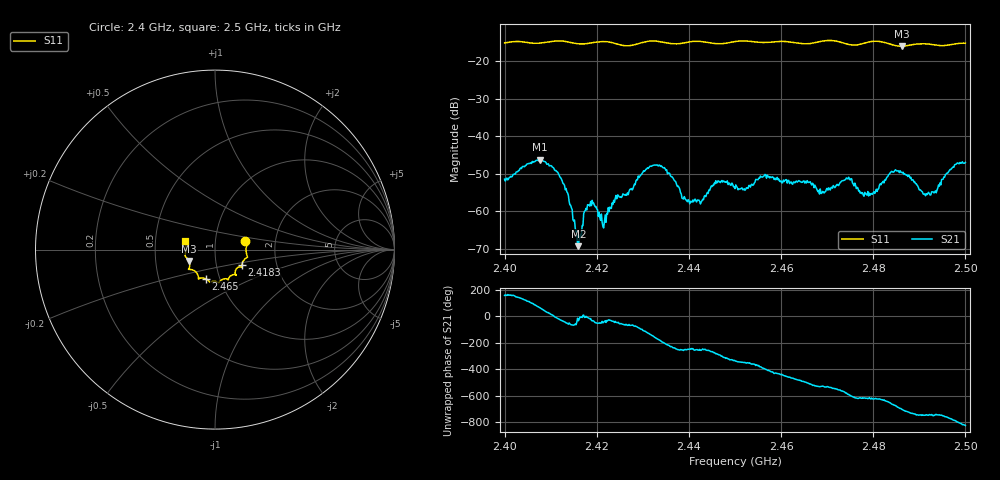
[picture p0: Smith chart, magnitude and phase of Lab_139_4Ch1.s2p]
# Hz S RI R 50
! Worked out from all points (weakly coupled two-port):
!   601 points, 2.4 GHz to 2.5 GHz, reference 50 ohm
!   highest |S21| = -46.31 dB at 2.4077 GHz (marker M1); lowest = -69.3 dB at 2.416 GHz (marker M2)
!   lowest |S11| = -16.0 dB at 2.4862 GHz (marker M3), VSWR 1.37, Z = 37.1 - j4.84 ohm
!   |S11| at or under -10 dB: start of sweep to end of sweep
!   S12 and S22 are empty: the file has one direction only
!   S11 on the Smith chart (normalised r, x): 2.4 GHz: 1.40, +0.13; 2.4183 GHz: 1.33, -0.24; 2.465 GHz: 0.86, -0.29; 2.5 GHz: 0.71, +0.07
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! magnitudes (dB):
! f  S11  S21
! 2.4 GHz  -15.1  -51.5
! 2.4077 GHz  -15.2  -46.3
! 2.4125 GHz  -14.6  -52.0
! 2.416 GHz  -15.4  -69.3
! 2.4167 GHz  -15.4  -66.8
! 2.4183 GHz  -15.2  -58.3
! 2.4217 GHz  -14.8  -62.6
! 2.4242 GHz  -15.4  -55.8
! 2.4333 GHz  -14.7  -48.0
! 2.4402 GHz  -14.9  -58.0
! 2.446 GHz  -15.3  -52.5
! 2.45 GHz  -14.8  -54.0
! 2.4562 GHz  -15.0  -50.7
! 2.465 GHz  -15.4  -52.0
! 2.4667 GHz  -15.2  -53.0
! 2.4692 GHz  -14.6  -54.8
! 2.4747 GHz  -15.6  -51.0
! 2.4795 GHz  -14.8  -55.4
! 2.4833 GHz  -15.3  -50.2
! 2.4862 GHz  -16.0  -49.7
! 2.4918 GHz  -15.4  -55.3
! 2.5 GHz  -15.2  -47.0
